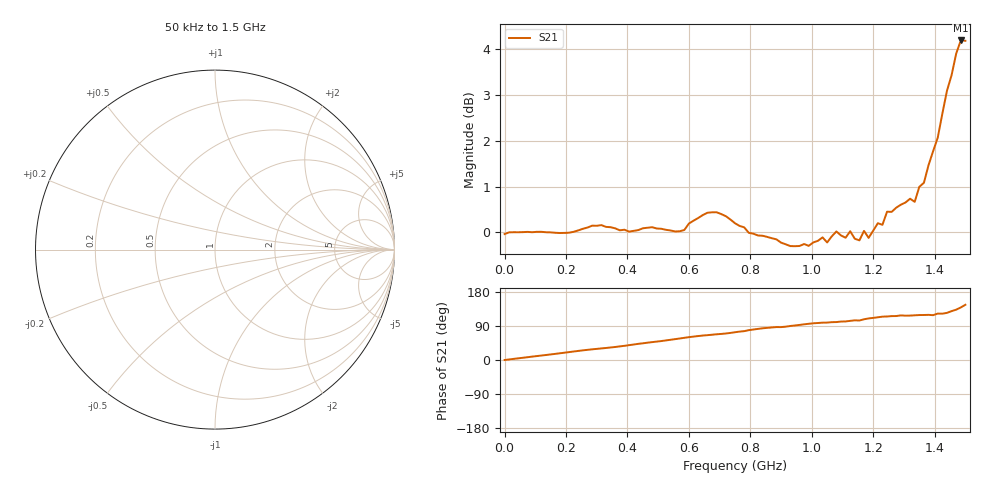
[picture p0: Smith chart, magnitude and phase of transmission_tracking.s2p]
! Created with skrf 1.8.0 (http://scikit-rf.org).
# Hz S RI R 50.0
!freq ReS11 ImS11 ReS21 ImS21 ReS12 ImS12 ReS22 ImS22
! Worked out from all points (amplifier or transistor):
!   101 points, 50 kHz to 1.5 GHz, reference 50 ohm
!   highest |S21| = 4.2 dB at 1.485 GHz (marker M1)
!   |S21| within 3 dB of that: 1.369 GHz to end of sweep
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50000  0 0  0.996 -0.000148  0 0  0 0
1.20046e8  0 0  0.9803 0.205  0 0  0 0
2.550415e8  0 0  0.9111 0.4341  0 0  0 0
3.60038e8  0 0  0.8341 0.5702  0 0  0 0
5.10033e8  0 0  0.6487 0.7731  0 0  0 0
6.60028e8  0 0  0.4354 0.9563  0 0  0 0
7.50025e8  0 0  0.2941 0.9802  0 0  0 0
8.40022e8  0 0  0.1086 0.9857  0 0  0 0
9.150195e8  0 0  0.0342 0.9701  0 0  0 0
1.005016e9  0 0  -0.117 0.9682  0 0  0 0
1.080014e9  0 0  -0.1759 0.987  0 0  0 0
1.155012e9  0 0  -0.2414 0.9501  0 0  0 0
1.21501e9  0 0  -0.3951 0.9441  0 0  0 0
1.260008e9  0 0  -0.4586 0.948  0 0  0 0
1.335006e9  0 0  -0.506 0.9541  0 0  0 0
1.365004e9  0 0  -0.5452 0.9932  0 0  0 0
1.395004e9  0 0  -0.5815 1.08  0 0  0 0
1.410003e9  0 0  -0.6819 1.07  0 0  0 0
1.440002e9  0 0  -0.8062 1.178  0 0  0 0
1.470001e9  0 0  -1.066 1.15  0 0  0 0
1.485e9  0 0  -1.217 1.07  0 0  0 0
1.5e9  0 0  -1.339 0.9108  0 0  0 0
